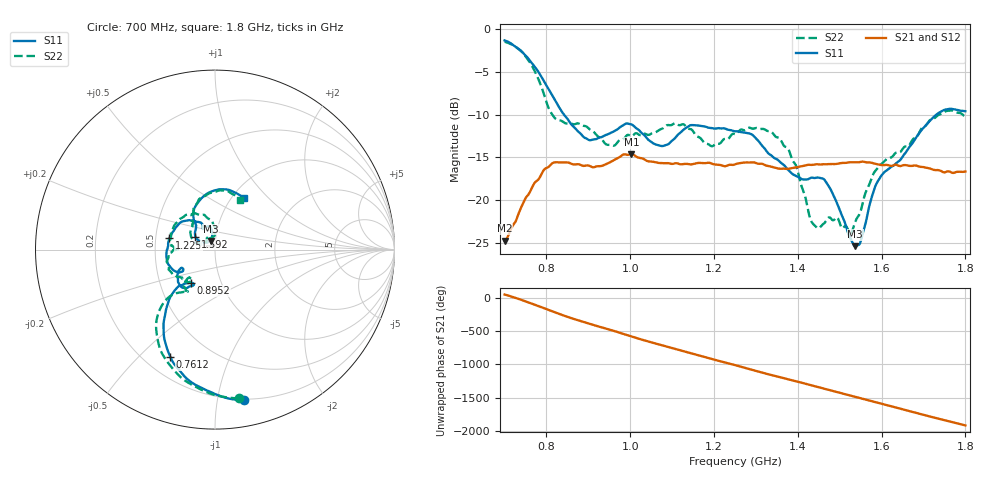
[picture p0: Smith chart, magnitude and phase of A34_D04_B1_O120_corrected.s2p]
! Created with skrf 1.9.0 (http://scikit-rf.org).
# Hz S RI R 50.0
!freq ReS11 ImS11 ReS21 ImS21 ReS12 ImS12 ReS22 ImS22
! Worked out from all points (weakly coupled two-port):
!   1601 points, 700 MHz to 1.8 GHz, reference 50 ohm
!   highest |S21| = -14.62 dB at 1.002 GHz (marker M1); lowest = -24.7 dB at 700 MHz (marker M2)
!   lowest |S11| = -25.3 dB at 1.537 GHz (marker M3), VSWR 1.11, Z = 47.4 + j4.61 ohm
!   |S11| at or under -10 dB: 841.4 MHz to 1.731 GHz (889.6 MHz wide, 69.2 % of centre)
!   |S22| runs from -23.9 to -1.5 dB; largest |S21 - S12| = 0.0033
!   S11 on the Smith chart (normalised r, x): 700 MHz: 0.19, -1.19; 761.2 MHz: 0.30, -0.62; 895.2 MHz: 0.72, -0.28; 1.225 GHz: 0.59, +0.08; 1.592 GHz: 0.80, +0.12; 1.8 GHz: 1.14, +0.73
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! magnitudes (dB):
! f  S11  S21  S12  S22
! 700 MHz  -1.4  -24.7  -24.5  -1.5
! 761.2 MHz  -3.8  -19.0  -18.9  -4.0
! 818.2 MHz  -8.1  -15.6  -15.7  -10.3
! 883.6 MHz  -12.3  -15.9  -15.8  -11.2
! 895.2 MHz  -12.8  -15.9  -16.0  -11.4
! 946.8 MHz  -12.3  -15.7  -15.7  -13.5
! 1.002 GHz  -11.2  -14.6  -14.7  -12.5
! 1.067 GHz  -13.6  -15.6  -15.6  -11.9
! 1.145 GHz  -11.2  -15.8  -15.8  -11.7
! 1.192 GHz  -11.6  -15.7  -15.7  -13.7
! 1.225 GHz  -11.6  -16.0  -16.0  -12.8
! 1.25 GHz  -12.0  -15.8  -15.7  -12.3
! 1.357 GHz  -15.5  -16.3  -16.3  -12.8
! 1.396 GHz  -17.2  -16.2  -16.2  -16.0
! 1.434 GHz  -17.3  -15.9  -15.8  -22.6
! 1.471 GHz  -18.2  -15.8  -15.8  -22.1
! 1.537 GHz  -25.3  -15.6  -15.6  -22.6
! 1.55 GHz  -24.7  -15.5  -15.5  -21.2
! 1.592 GHz  -17.7  -15.8  -15.8  -16.2
! 1.617 GHz  -16.3  -15.9  -15.9  -15.1
! 1.733 GHz  -9.9  -16.5  -16.5  -10.2
! 1.8 GHz  -9.6  -16.6  -16.6  -10.2
